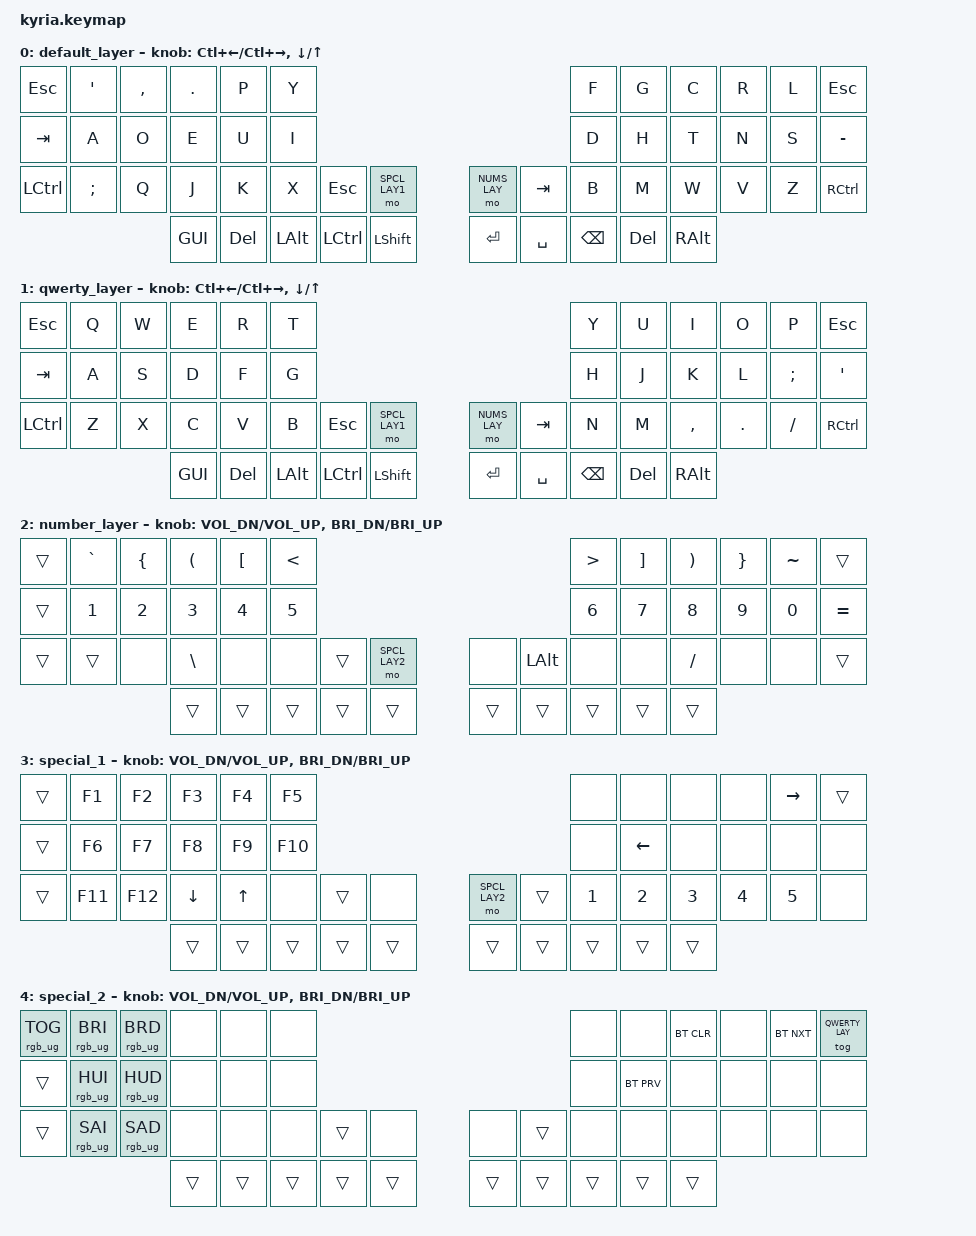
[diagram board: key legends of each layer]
/*
 * Copyright (c) 2020 The ZMK Contributors
 *
 * SPDX-License-Identifier: MIT
 */

#include <behaviors.dtsi>
#include <dt-bindings/zmk/keys.h>

// RGB underglow
#include <dt-bindings/zmk/rgb.h>

// Bluetooth
#include <dt-bindings/zmk/bt.h>

#define ALPH_LAY 0
#define QWERTY_LAY 1
#define NUMS_LAY 2
#define SPCL_LAY1 3
#define SPCL_LAY2 4

#define NONE 0


/ {
	keymap {
		compatible = "zmk,keymap";

		default_layer {
// ---------------------------------------------------------------------------------------------------------------------------------
// | ESC  |  '  |  ,  |  .   |  P   |  Y   |                                               |  F   |  G  |  C  |  R  |  L  | ESC  |
// | TAB  |  A  |  O  |  E   |  U   |  I   |                                               |  D   |  H  |  T  |  N  |  S  |   -  |
// | LCTRL |  ;  |  Q  |  J   |  K   |  X   | ESC  | SPCL_LAY1 |    | NUMS_LAY | TAB |  B  |  M  |  W  |  V  |  Z  | CTRL |
//                        | GUI  | DEL | LALT | LCTRL | LSHIFT |    | RET | SPACE | BSPC  | DEL | R-ALT |
			bindings = <
	&kp ESC   &kp SQT &kp COMMA &kp DOT &kp P &kp Y                                         &kp F &kp G  &kp C &kp R   &kp L &kp ESC
	&kp TAB   &kp A &kp O &kp E &kp U &kp I                                                  &kp D &kp H  &kp T &kp N   &kp S &kp MINUS
	&kp LCTRL  &kp SEMI &kp Q &kp J &kp K &kp X &kp ESC &mo SPCL_LAY1 &mo NUMS_LAY &kp TAB &kp B &kp M  &kp W &kp V   &kp Z &kp RCTRL
	                &kp GUI &kp DEL &kp LALT &kp LCTRL &kp LSHIFT                  &kp RET  &kp SPACE  &kp BSPC &kp DEL &kp RALT
			>;

			sensor-bindings = <&inc_dec_kp LC(LEFT) LC(RIGHT) &inc_dec_kp DOWN UP>;
		};

		qwerty_layer {
// ---------------------------------------------------------------------------------------------------------------------------------
// | ESC  |  Q  |  W  |  E   |  R   |  T   |                                               |  Y   |  U  |  I  |  O  |  P  | ESC  |
// | TAB  |  A  |  S  |  D   |  F   |  G   |                                               |  H   |  J  |  K  |  L  |  ;  |   '  |
// | LCTRL |  Z  |  X  |  C   |  V   |  B   | ESC  | SPCL_LAY1 |    | NUMS_LAY | TAB |  N  |  M  |  ,  |  .  |  /  | CTRL |
//                        | GUI  | DEL | LALT | LCTRL | LSHIFT |    | RET | SPACE | BSPC  | DEL | R-ALT |
			bindings = <
	&kp ESC   &kp Q &kp W &kp E &kp R &kp T                                                      &kp Y &kp U  &kp I &kp O   &kp P &kp ESC
	&kp TAB   &kp A &kp S &kp D &kp F &kp G                                                   &kp H &kp J  &kp K &kp L   &kp SEMI &kp SQT
	&kp LCTRL  &kp Z &kp X &kp C &kp V &kp B &kp ESC &mo SPCL_LAY1 &mo NUMS_LAY &kp TAB &kp N &kp M  &kp COMMA &kp DOT   &kp FSLH &kp RCTRL
	                &kp GUI &kp DEL &kp LALT &kp LCTRL &kp LSHIFT                  &kp RET  &kp SPACE  &kp BSPC &kp DEL &kp RALT
			>;

			sensor-bindings = <&inc_dec_kp LC(LEFT) LC(RIGHT) &inc_dec_kp DOWN UP>;
		};

		number_layer {
// ---------------------------------------------------------------------------------------------------------------------------------
// |      |  `  |  {  |  (   |  [   |  <   |                                            |  >   |  ]  |  )  |  }  |  ~  |      |
// |      |  1  |  2  |  3   |  4   |  5   |                                            |  6   |  7  |  8  |  9  |  0  |  +=  |
// |      |  ;  |     |  \   |      |      | SPCL_LAY2 | LCTRL |    |           |  ALT  |      |     |  /  |     |     |      |
//                        |      |      |      |       |       |    |           |       |      |     |     |
			bindings = <
	&trans &kp GRAVE &kp LBRC &kp LPAR &kp LBKT &kp LT                                           &kp GT &kp RBKT &kp RPAR &kp RBRC &kp TILDE &trans
	&trans &kp N1     &kp N2    &kp N3       &kp N4    &kp N5                                            &kp N6  &kp N7  &kp N8         &kp N9    &kp N0     &kp EQUAL
	&trans &trans    &none    &kp BSLH    &none    &none  &trans &mo SPCL_LAY2   &none  &kp LALT &none  &none  &kp FSLH      &none    &none     &trans
                            &trans      &trans   &trans &trans        &trans      &trans &trans   &trans &trans &trans
			>;

			sensor-bindings = <&inc_dec_kp C_VOL_DN C_VOL_UP &inc_dec_kp C_BRI_DN C_BRI_UP>;
		};

    special_1 {
// ---------------------------------------------------------------------------------------------------------------------------------
// |
      bindings = <
	&trans &kp F1  &kp F2  &kp F3   &kp F4     &kp F5                                     &none  &none  &none  &none  &kp RIGHT   &trans
	&trans &kp F6  &kp F7  &kp F8   &kp F9     &kp F10                                    &none &kp LEFT &none &none &none        &none
	&trans &kp F11 &kp F12 &kp DOWN &kp UP  &none  &trans &none         &mo SPCL_LAY2 &trans &kp N1  &kp N2  &kp N3  &kp N4 &kp N5  &none
                      &trans   &trans     &trans &trans &trans        &trans &trans &trans &trans &trans
			>;

			sensor-bindings = <&inc_dec_kp C_VOL_DN C_VOL_UP &inc_dec_kp C_BRI_DN C_BRI_UP>;
    };

  special_2 {
// ---------------------------------------------------------------------------------------------------------------------------------
// |
      bindings = <
	&rgb_ug RGB_TOG &rgb_ug RGB_BRI &rgb_ug RGB_BRD &none  &none  &none                          &none  &none  &bt BT_CLR  &none  &bt BT_NXT &tog QWERTY_LAY
	&trans      &rgb_ug RGB_HUI &rgb_ug RGB_HUD &none  &none  &none                              &none  &bt BT_PRV  &none  &none  &none &none
	&trans      &rgb_ug RGB_SAI &rgb_ug RGB_SAD &none  &none  &none  &trans &none     &none  &trans &none  &none  &none &none &none &none
                                      &trans &trans &trans &trans &trans    &trans &trans &trans &trans &trans
			>;

			sensor-bindings = <&inc_dec_kp C_VOL_DN C_VOL_UP &inc_dec_kp C_BRI_DN C_BRI_UP>;
    };
  };
};
